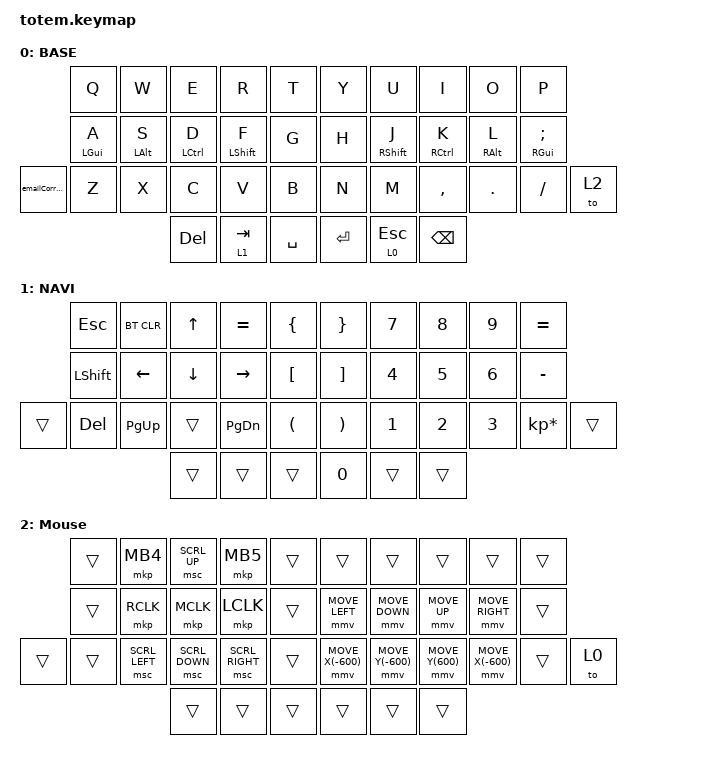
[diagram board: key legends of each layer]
//
//                                                        ▀▀▀▀▀     ▀▀▀▀▀          ▀▀█▀▀
//                                                        ▄▀▀▀▄  ▄  ▄▀▀▀▄  ▄  ▄▀▀▀▄  █  ▄▀▀▀▄
//                                                        █   █  █  █   █  █  █   █  █  █   █
//                                                         ▀▀▀   █   ▀▀▀   █   ▀▀▀   ▀   ▀▀▀
//                                                               █      ▄▄▄█▄▄▄    █   █  
//                                                               ▀      █  █  █     █▄█
//                                                             ▀▀▀▀▀    █  █  █      ▀
//                                                                      ▀  ▀  ▀
//
// ▄▄▄▄▄▄▄▄▄▄▄▄▄▄▄▄▄▄▄▄▄▄▄▄▄▄▄▄▄▄▄▄▄▄▄▄▄▄▄▄▄▄▄▄▄▄▄▄▄▄▄▄▄▄▄▄▄▄▄▄▄▄▄▄▄▄▄▄▄▄▄▄▄▄▄▄▄▄▄▄▄▄▄▄▄▄▄▄▄▄▄▄▄▄▄▄▄▄▄▄▄▄▄▄▄▄▄▄▄▄▄▄▄▄▄▄▄▄▄▄▄▄▄▄▄▄▄▄▄▄▄▄▄▄▄▄▄▄▄▄▄▄▄▄▄▄▄▄▄

#include <behaviors.dtsi>
#include <dt-bindings/zmk/bt.h>
#include <dt-bindings/zmk/keys.h>
#include <dt-bindings/zmk/pointing.h>

#define BASE 0
#define NAV  1
#define SYM  2
#define ADJ  3
#define TVP1 4
#define TVP2 5

&mt {
    quick-tap-ms = <100>;
    global-quick-tap;
    flavor = "tap-preferred";
    tapping-term-ms = <170>;
};

/ {
    combos {
        compatible = "zmk,combos";

        combo_esc {
            timeout-ms = <50>;
            key-positions = <0 1>;
            bindings = <&kp ESC>;
        };

        combo_tvp {
            timeout-ms = <100>;
            key-positions = <11 12 13>;
            bindings = <&tog 0>;
        };
    };

    macros {
        gif: gif {
            label = "giphy";
            compatible = "zmk,behavior-macro";
            #binding-cells = <0>;
            bindings =
                <&macro_press>,
                <&kp LSHFT>,
                <&macro_tap>,
                <&kp N2>,
                <&macro_release>,
                <&kp LSHFT>,
                <&macro_tap>,
                <&kp G &kp I &kp F>;
        };

        emailCorrections: emailCorrections {
            compatible = "zmk,behavior-macro";
            #binding-cells = <0>;
            bindings = <&kp LC(LEFT) &kp BACKSPACE &kp PERIOD &kp LC(RIGHT) &kp AT &kp C &kp O &kp R &kp R &kp E &kp C &kp T &kp I &kp O &kp N &kp S &kp DOT &kp G &kp O &kp V &kp T &kp DOT &kp N &kp Z>;
            label = "EMAILCORRECTIONS";
        };
    };

    keymap {
        compatible = "zmk,keymap";

        // ▄▄▄▄▄▄▄▄▄▄▄▄▄▄▄▄▄▄▄▄▄▄▄▄▄▄▄▄▄▄▄▄▄▄▄▄▄▄▄▄▄▄▄▄▄▄▄▄▄▄▄▄▄▄▄▄▄▄▄▄▄▄▄▄▄▄▄▄▄▄▄▄▄▄▄▄▄▄▄▄▄▄▄▄▄▄▄▄▄▄▄▄▄▄▄▄▄▄▄▄▄▄▄▄▄▄▄▄▄▄▄▄▄▄▄▄▄▄▄▄▄▄▄▄▄▄▄▄▄▄▄▄▄▄▄▄▄▄▄▄▄▄▄▄▄▄▄▄▄

        base_layer {
            // ┏━━━━━━━━━━━━━━━━━━━━━━━━━━━━━━━━━━━━━━━┓

            label = "BASE";

            // ┗━━━━━━━━━━━━━━━━━━━━━━━━━━━━━━━━━━━━━━━┛
            //             ┏━━━━━━━━━━━┳━━━━━━━━━━━┳━━━━━━━━━━━┳━━━━━━━━━━━┳━━━━━━━━━━━┓   ┏━━━━━━━━━━━┳━━━━━━━━━━━┳━━━━━━━━━━━┳━━━━━━━━━━━┳━━━━━━━━━━━┓
            //             ┃     Q     ┃     W     ┃     F     ┃     P     ┃     G     ┃   ┃     J     ┃     L     ┃     U     ┃     Y     ┃     ;     ┃
            //             ┣━━━━━━━━━━━╋━━━━━━━━━━━╋━━━━━━━━━━━╋━━━━━━━━━━━╋━━━━━━━━━━━┫   ┣━━━━━━━━━━━╋━━━━━━━━━━━╋━━━━━━━━━━━╋━━━━━━━━━━━╋━━━━━━━━━━━┫
            //             ┃     A     ┃     R     ┃     S     ┃     T     ┃     D     ┃   ┃     H     ┃     N     ┃     E     ┃     I     ┃     O     ┃
            // ┏━━━━━━━━━━━╋━━━━━━━━━━━╋━━━━━━━━━━━╋━━━━━━━━━━━╋━━━━━━━━━━━╋━━━━━━━━━━━┫   ┣━━━━━━━━━━━╋━━━━━━━━━━━╋━━━━━━━━━━━╋━━━━━━━━━━━╋━━━━━━━━━━━╋━━━━━━━━━━━┓
            // ┃     Q     ┃     Z     ┃     X     ┃     C     ┃     V     ┃     B     ┃   ┃     K     ┃     M     ┃     ,     ┃     .     ┃     /     ┃     \     ┃
            // ┗━━━━━━━━━━━┻━━━━━━━━━━━┻━━━━━━━━━━━╋━━━━━━━━━━━╋━━━━━━━━━━━╋━━━━━━━━━━━┫   ┣━━━━━━━━━━━╋━━━━━━━━━━━╋━━━━━━━━━━━╋━━━━━━━━━━━┻━━━━━━━━━━━┻━━━━━━━━━━━┛
            //                                     ┃    DEL    ┃    TAB    ┃    SPC    ┃   ┃   ENTER   ┃           ┃   BSPC    ┃
            //                                     ┗━━━━━━━━━━━┻━━━━━━━━━━━┻━━━━━━━━━━━┛   ┗━━━━━━━━━━━┻━━━━━━━━━━━┻━━━━━━━━━━━┛

            bindings = <
                   &kp Q           &kp W           &kp E        &kp R             &kp T        &kp Y    &kp U              &kp I        &kp O            &kp P
                   &mt LEFT_GUI A  &mt LEFT_ALT S  &mt LCTRL D  &mt LEFT_SHIFT F  &kp G        &kp H    &mt RIGHT_SHIFT J  &mt RCTRL K  &mt RIGHT_ALT L  &mt RGUI SEMI
&emailCorrections  &kp Z           &kp X           &kp C        &kp V             &kp B        &kp N    &kp M              &kp COMMA    &kp DOT          &kp FSLH       &to 2
                                                   &kp DEL      &lt 1 TAB         &kp SPACE    &kp RET  &lt 0 ESC          &kp BSPC
            >;
        };

        // ▄▄▄▄▄▄▄▄▄▄▄▄▄▄▄▄▄▄▄▄▄▄▄▄▄▄▄▄▄▄▄▄▄▄▄▄▄▄▄▄▄▄▄▄▄▄▄▄▄▄▄▄▄▄▄▄▄▄▄▄▄▄▄▄▄▄▄▄▄▄▄▄▄▄▄▄▄▄▄▄▄▄▄▄▄▄▄▄▄▄▄▄▄▄▄▄▄▄▄▄▄▄▄▄▄▄▄▄▄▄▄▄▄▄▄▄▄▄▄▄▄▄▄▄▄▄▄▄▄▄▄▄▄▄▄▄▄▄▄▄▄▄▄▄▄▄▄▄▄

        nav_layer {
            // ┏━━━━━━━━━━━━━━━━━━━━━━━━━━━━━━━━━━━━━━━┓

            label = "NAVI";

            // ┗━━━━━━━━━━━━━━━━━━━━━━━━━━━━━━━━━━━━━━━┛
            //             ┏━━━━━━━━━━━┳━━━━━━━━━━━┳━━━━━━━━━━━┳━━━━━━━━━━━┳━━━━━━━━━━━┓   ┏━━━━━━━━━━━┳━━━━━━━━━━━┳━━━━━━━━━━━┳━━━━━━━━━━━┳━━━━━━━━━━━┓
            //             ┃           ┃           ┃     UP    ┃           ┃     {     ┃   ┃     }     ┃     7     ┃     8     ┃     9     ┃     +     ┃
            //             ┣━━━━━━━━━━━╋━━━━━━━━━━━╋━━━━━━━━━━━╋━━━━━━━━━━━╋━━━━━━━━━━━┫   ┣━━━━━━━━━━━╋━━━━━━━━━━━╋━━━━━━━━━━━╋━━━━━━━━━━━╋━━━━━━━━━━━┫
            //             ┃   SHIFT   ┃   LEFT    ┃    DOWN   ┃   RIGHT   ┃     [     ┃   ┃     ]     ┃     4     ┃     5     ┃     6     ┃     -     ┃
            // ┏━━━━━━━━━━━╋━━━━━━━━━━━╋━━━━━━━━━━━╋━━━━━━━━━━━╋━━━━━━━━━━━╋━━━━━━━━━━━┫   ┣━━━━━━━━━━━╋━━━━━━━━━━━╋━━━━━━━━━━━╋━━━━━━━━━━━╋━━━━━━━━━━━╋━━━━━━━━━━━┓
            // ┃           ┃           ┃   P UP    ┃  C LOCK   ┃  P DOWN   ┃     (     ┃   ┃     )     ┃     1     ┃     2     ┃     3     ┃     *     ┃           ┃
            // ┗━━━━━━━━━━━┻━━━━━━━━━━━┻━━━━━━━━━━━╋━━━━━━━━━━━╋━━━━━━━━━━━╋━━━━━━━━━━━┫   ┣━━━━━━━━━━━╋━━━━━━━━━━━╋━━━━━━━━━━━╋━━━━━━━━━━━┻━━━━━━━━━━━┻━━━━━━━━━━━┛
            //                                     ┃           ┃    TAB    ┃    SPC    ┃   ┃    DEL    ┃     0     ┃           ┃
            //                                     ┗━━━━━━━━━━━┻━━━━━━━━━━━┻━━━━━━━━━━━┛   ┗━━━━━━━━━━━┻━━━━━━━━━━━┻━━━━━━━━━━━┛

            bindings = <
        &kp ESC    &bt BT_CLR  &kp UP    &kp EQUAL  &kp LBRC    &kp RBRC  &kp N7  &kp N8  &kp N9  &kp EQUAL
        &kp LSHFT  &kp LEFT    &kp DOWN  &kp RIGHT  &kp LBKT    &kp RBKT  &kp N4  &kp N5  &kp N6  &kp MINUS
&trans  &kp DEL    &kp PG_UP   &trans    &kp PG_DN  &kp LPAR    &kp RPAR  &kp N1  &kp N2  &kp N3  &kp KP_MULTIPLY  &trans
                               &trans    &trans     &trans      &kp N0    &trans  &trans
            >;
        };

        Mouse {
            bindings = <
        &trans  &mkp MB4        &msc SCRL_UP    &mkp MB5         &trans    &trans             &trans             &trans            &trans             &trans
        &trans  &mkp RCLK       &mkp MCLK       &mkp LCLK        &trans    &mmv MOVE_LEFT     &mmv MOVE_DOWN     &mmv MOVE_UP      &mmv MOVE_RIGHT    &trans
&trans  &trans  &msc SCRL_LEFT  &msc SCRL_DOWN  &msc SCRL_RIGHT  &trans    &mmv MOVE_X(-600)  &mmv MOVE_Y(-600)  &mmv MOVE_Y(600)  &mmv MOVE_X(-600)  &trans  &to 0
                                &trans          &trans           &trans    &trans             &trans             &trans
            >;
        };

        // ▄▄▄▄▄▄▄▄▄▄▄▄▄▄▄▄▄▄▄▄▄▄▄▄▄▄▄▄▄▄▄▄▄▄▄▄▄▄▄▄▄▄▄▄▄▄▄▄▄▄▄▄▄▄▄▄▄▄▄▄▄▄▄▄▄▄▄▄▄▄▄▄▄▄▄▄▄▄▄▄▄▄▄▄▄▄▄▄▄▄▄▄▄▄▄▄▄▄▄▄▄▄▄▄▄▄▄▄▄▄▄▄▄▄▄▄▄▄▄▄▄▄▄▄▄▄▄▄▄▄▄▄▄▄▄▄▄▄▄▄▄▄▄▄▄▄▄▄▄
        // ▄▄▄▄▄▄▄▄▄▄▄▄▄▄▄▄▄▄▄▄▄▄▄▄▄▄▄▄▄▄▄▄▄▄▄▄▄▄▄▄▄▄▄▄▄▄▄▄▄▄▄▄▄▄▄▄▄▄▄▄▄▄▄▄▄▄▄▄▄▄▄▄▄▄▄▄▄▄▄▄▄▄▄▄▄▄▄▄▄▄▄▄▄▄▄▄▄▄▄▄▄▄▄▄▄▄▄▄▄▄▄▄▄▄▄▄▄▄▄▄▄▄▄▄▄▄▄▄▄▄▄▄▄▄▄▄▄▄▄▄▄▄▄▄▄▄▄▄▄
        // ▄▄▄▄▄▄▄▄▄▄▄▄▄▄▄▄▄▄▄▄▄▄▄▄▄▄▄▄▄▄▄▄▄▄▄▄▄▄▄▄▄▄▄▄▄▄▄▄▄▄▄▄▄▄▄▄▄▄▄▄▄▄▄▄▄▄▄▄▄▄▄▄▄▄▄▄▄▄▄▄▄▄▄▄▄▄▄▄▄▄▄▄▄▄▄▄▄▄▄▄▄▄▄▄▄▄▄▄▄▄▄▄▄▄▄▄▄▄▄▄▄▄▄▄▄▄▄▄▄▄▄▄▄▄▄▄▄▄▄▄▄▄▄▄▄▄▄▄▄
        // ▄▄▄▄▄▄▄▄▄▄▄▄▄▄▄▄▄▄▄▄▄▄▄▄▄▄▄▄▄▄▄▄▄▄▄▄▄▄▄▄▄▄▄▄▄▄▄▄▄▄▄▄▄▄▄▄▄▄▄▄▄▄▄▄▄▄▄▄▄▄▄▄▄▄▄▄▄▄▄▄▄▄▄▄▄▄▄▄▄▄▄▄▄▄▄▄▄▄▄▄▄▄▄▄▄▄▄▄▄▄▄▄▄▄▄▄▄▄▄▄▄▄▄▄▄▄▄▄▄▄▄▄▄▄▄▄▄▄▄▄▄▄▄▄▄▄▄▄▄
    };
};
